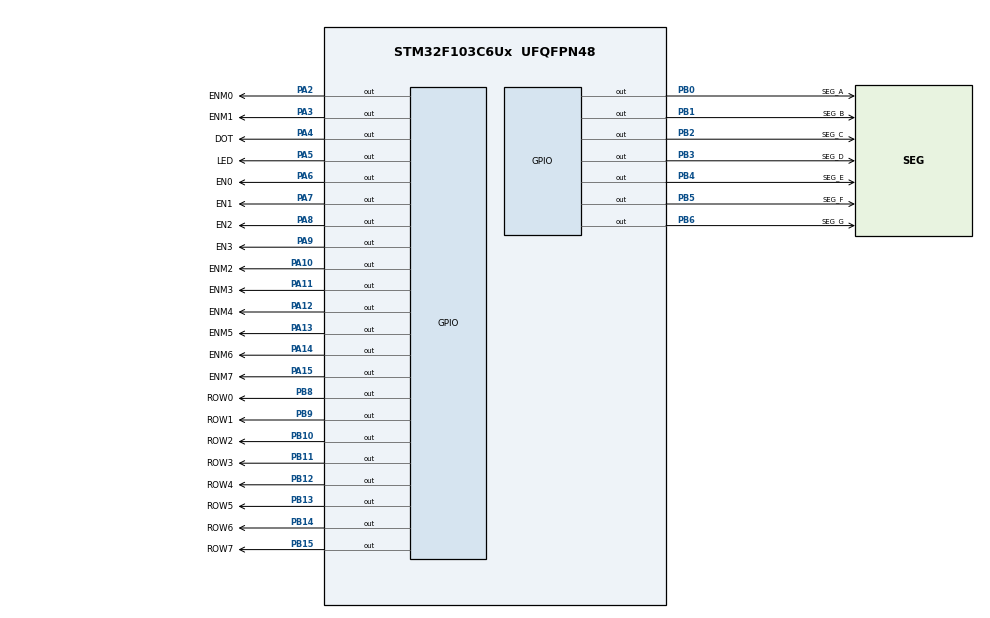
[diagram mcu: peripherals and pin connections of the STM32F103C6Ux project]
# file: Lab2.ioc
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Mcu.Family=STM32F1
Mcu.Name=STM32F103C6Ux
Mcu.Package=UFQFPN48
NVIC.PriorityGroup=NVIC_PRIORITYGROUP_4
NVIC.TIM2_IRQn=true\:0\:0\:false\:false\:true\:true\:true
PA10.GPIO_Label=ENM2
PA10.Signal=GPIO_Output
PA11.GPIO_Label=ENM3
PA11.Signal=GPIO_Output
PA12.GPIO_Label=ENM4
PA12.Signal=GPIO_Output
PA13.GPIO_Label=ENM5
PA13.Signal=GPIO_Output
PA14.GPIO_Label=ENM6
PA14.Signal=GPIO_Output
PA15.GPIO_Label=ENM7
PA15.Signal=GPIO_Output
PA2.GPIO_Label=ENM0
PA2.Signal=GPIO_Output
PA3.GPIO_Label=ENM1
PA3.Signal=GPIO_Output
PA4.GPIO_Label=DOT
PA4.Signal=GPIO_Output
PA5.GPIO_Label=LED
PA5.Signal=GPIO_Output
PA6.GPIO_Label=EN0
PA6.Signal=GPIO_Output
PA7.GPIO_Label=EN1
PA7.Signal=GPIO_Output
PA8.GPIO_Label=EN2
PA8.Signal=GPIO_Output
PA9.GPIO_Label=EN3
PA9.Signal=GPIO_Output
PB0.GPIO_Label=SEG_A
PB0.Signal=GPIO_Output
PB1.GPIO_Label=SEG_B
PB1.Signal=GPIO_Output
PB10.GPIO_Label=ROW2
PB10.Signal=GPIO_Output
PB11.GPIO_Label=ROW3
PB11.Signal=GPIO_Output
PB12.GPIO_Label=ROW4
PB12.Signal=GPIO_Output
PB13.GPIO_Label=ROW5
PB13.Signal=GPIO_Output
PB14.GPIO_Label=ROW6
PB14.Signal=GPIO_Output
PB15.GPIO_Label=ROW7
PB15.Signal=GPIO_Output
PB2.GPIO_Label=SEG_C
PB2.Signal=GPIO_Output
PB3.GPIO_Label=SEG_D
PB3.Signal=GPIO_Output
PB4.GPIO_Label=SEG_E
PB4.Signal=GPIO_Output
PB5.GPIO_Label=SEG_F
PB5.Signal=GPIO_Output
PB6.GPIO_Label=SEG_G
PB6.Signal=GPIO_Output
PB8.GPIO_Label=ROW0
PB8.Signal=GPIO_Output
PB9.GPIO_Label=ROW1
PB9.Signal=GPIO_Output
ProjectManager.HeapSize=0x200
ProjectManager.StackSize=0x400
ProjectManager.TargetToolchain=STM32CubeIDE
RCC.APB1Freq_Value=8000000
RCC.APB2Freq_Value=8000000
TIM2.Period=9
TIM2.Prescaler=7999
VP_SYS_VS_ND.Mode=No_Debug
VP_TIM2_VS_ClockSourceINT.Mode=Internal
board=custom

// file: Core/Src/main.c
/* USER CODE BEGIN Header */
/**
  ******************************************************************************
  * @file           : main.c
  * @brief          : Main program body
  ******************************************************************************
  * @attention
  *
  * <h2><center>&copy; Copyright (c) 2024 STMicroelectronics.
  * All rights reserved.</center></h2>
  *
  * This software component is licensed by ST under BSD 3-Clause license,
  * the "License"; You may not use this file except in compliance with the
  * License. You may obtain a copy of the License at:
  *                        opensource.org/licenses/BSD-3-Clause
  *
  ******************************************************************************
  */
/* USER CODE END Header */
#include "main.h"
#include "stdio.h"
/* USER CODE BEGIN Includes */
#include "time_set.h"
/* USER CODE END Includes */

TIM_HandleTypeDef htim2;

void SystemClock_Config(void);
static void MX_GPIO_Init(void);
static void MX_TIM2_Init(void);
/* USER CODE BEGIN PFP */
void Display7SEG(int num);
void Exercise1_Run();
void Exercise2_Run();
void Exercise3_Run();
void Exercise4_Run();
void Exercise5_Run();
void Exercise9_Run();
void Exercise10_Run();
/* USER CODE END PFP */

/* USER CODE BEGIN 0 */
uint8_t matrix_buffer [8] ={0b00111100 ,
  							0b01100110 ,
  							0b01100110 ,
  							0b01111110 ,
  							0b01111110 ,
  							0b01100110 ,
  							0b01100110 ,
  							0b01100110 };
  uint16_t column_buffer [8] = {ENM0_Pin,ENM1_Pin,ENM2_Pin,ENM3_Pin,ENM4_Pin,ENM5_Pin,ENM6_Pin,ENM7_Pin};
/* USER CODE END 0 */

int main(void)
{

  /* MCU Configuration--------------------------------------------------------*/

  /* Reset of all peripherals, Initializes the Flash interface and the Systick. */
  HAL_Init();

  /* Configure the system clock */
  SystemClock_Config();

  /* Initialize all configured peripherals */
  MX_GPIO_Init();
  MX_TIM2_Init();
  /* USER CODE BEGIN 2 */
  HAL_TIM_Base_Start_IT (& htim2 ) ;
  Exercise10_Run();
  /* USER CODE END 2 */

  /* Infinite loop */

}

void SystemClock_Config(void)
{
  RCC_OscInitTypeDef RCC_OscInitStruct = {0};
  RCC_ClkInitTypeDef RCC_ClkInitStruct = {0};

  /** Initializes the RCC Oscillators according to the specified parameters
  * in the RCC_OscInitTypeDef structure.
  */
  RCC_OscInitStruct.OscillatorType = RCC_OSCILLATORTYPE_HSI;
  RCC_OscInitStruct.HSIState = RCC_HSI_ON;
  RCC_OscInitStruct.HSICalibrationValue = RCC_HSICALIBRATION_DEFAULT;
  RCC_OscInitStruct.PLL.PLLState = RCC_PLL_NONE;
  if (HAL_RCC_OscConfig(&RCC_OscInitStruct) != HAL_OK)
  {
    Error_Handler();
  }
  /** Initializes the CPU, AHB and APB buses clocks
  */
  RCC_ClkInitStruct.ClockType = RCC_CLOCKTYPE_HCLK|RCC_CLOCKTYPE_SYSCLK
                              |RCC_CLOCKTYPE_PCLK1|RCC_CLOCKTYPE_PCLK2;
  RCC_ClkInitStruct.SYSCLKSource = RCC_SYSCLKSOURCE_HSI;
  RCC_ClkInitStruct.AHBCLKDivider = RCC_SYSCLK_DIV1;
  RCC_ClkInitStruct.APB1CLKDivider = RCC_HCLK_DIV1;
  RCC_ClkInitStruct.APB2CLKDivider = RCC_HCLK_DIV1;

  if (HAL_RCC_ClockConfig(&RCC_ClkInitStruct, FLASH_LATENCY_0) != HAL_OK)
  {
    Error_Handler();
  }
}

static void MX_TIM2_Init(void)
{

  TIM_ClockConfigTypeDef sClockSourceConfig = {0};
  TIM_MasterConfigTypeDef sMasterConfig = {0};

  htim2.Instance = TIM2;
  htim2.Init.Prescaler = 7999;
  htim2.Init.CounterMode = TIM_COUNTERMODE_UP;
  htim2.Init.Period = 9;
  htim2.Init.ClockDivision = TIM_CLOCKDIVISION_DIV1;
  htim2.Init.AutoReloadPreload = TIM_AUTORELOAD_PRELOAD_DISABLE;
  if (HAL_TIM_Base_Init(&htim2) != HAL_OK)
  {
    Error_Handler();
  }
  sClockSourceConfig.ClockSource = TIM_CLOCKSOURCE_INTERNAL;
  if (HAL_TIM_ConfigClockSource(&htim2, &sClockSourceConfig) != HAL_OK)
  {
    Error_Handler();
  }
  sMasterConfig.MasterOutputTrigger = TIM_TRGO_RESET;
  sMasterConfig.MasterSlaveMode = TIM_MASTERSLAVEMODE_DISABLE;
  if (HAL_TIMEx_MasterConfigSynchronization(&htim2, &sMasterConfig) != HAL_OK)
  {
    Error_Handler();
  }

}

static void MX_GPIO_Init(void)
{
  GPIO_InitTypeDef GPIO_InitStruct = {0};

  /* GPIO Ports Clock Enable */
  __HAL_RCC_GPIOA_CLK_ENABLE();
  __HAL_RCC_GPIOB_CLK_ENABLE();

  /*Configure GPIO pin Output Level */
  HAL_GPIO_WritePin(GPIOA, ENM0_Pin|ENM1_Pin|DOT_Pin|LED_Pin
                          |EN0_Pin|EN1_Pin|EN2_Pin|EN3_Pin
                          |ENM2_Pin|ENM3_Pin|ENM4_Pin|ENM5_Pin
                          |ENM6_Pin|ENM7_Pin, GPIO_PIN_RESET);

  /*Configure GPIO pin Output Level */
  HAL_GPIO_WritePin(GPIOB, SEG_A_Pin|SEG_B_Pin|SEG_C_Pin|ROW2_Pin
                          |ROW3_Pin|ROW4_Pin|ROW5_Pin|ROW6_Pin
                          |ROW7_Pin|SEG_D_Pin|SEG_E_Pin|SEG_F_Pin
                          |SEG_G_Pin|ROW0_Pin|ROW1_Pin, GPIO_PIN_RESET);

  /*Configure GPIO pins : ENM0_Pin ENM1_Pin DOT_Pin LED_Pin
                           EN0_Pin EN1_Pin EN2_Pin EN3_Pin
                           ENM2_Pin ENM3_Pin ENM4_Pin ENM5_Pin
                           ENM6_Pin ENM7_Pin */
  GPIO_InitStruct.Pin = ENM0_Pin|ENM1_Pin|DOT_Pin|LED_Pin
                          |EN0_Pin|EN1_Pin|EN2_Pin|EN3_Pin
                          |ENM2_Pin|ENM3_Pin|ENM4_Pin|ENM5_Pin
                          |ENM6_Pin|ENM7_Pin;
  GPIO_InitStruct.Mode = GPIO_MODE_OUTPUT_PP;
  GPIO_InitStruct.Pull = GPIO_NOPULL;
  GPIO_InitStruct.Speed = GPIO_SPEED_FREQ_LOW;
  HAL_GPIO_Init(GPIOA, &GPIO_InitStruct);

  /*Configure GPIO pins : SEG_A_Pin SEG_B_Pin SEG_C_Pin ROW2_Pin
                           ROW3_Pin ROW4_Pin ROW5_Pin ROW6_Pin
                           ROW7_Pin SEG_D_Pin SEG_E_Pin SEG_F_Pin
                           SEG_G_Pin ROW0_Pin ROW1_Pin */
  GPIO_InitStruct.Pin = SEG_A_Pin|SEG_B_Pin|SEG_C_Pin|ROW2_Pin
                          |ROW3_Pin|ROW4_Pin|ROW5_Pin|ROW6_Pin
                          |ROW7_Pin|SEG_D_Pin|SEG_E_Pin|SEG_F_Pin
                          |SEG_G_Pin|ROW0_Pin|ROW1_Pin;
  GPIO_InitStruct.Mode = GPIO_MODE_OUTPUT_PP;
  GPIO_InitStruct.Pull = GPIO_NOPULL;
  GPIO_InitStruct.Speed = GPIO_SPEED_FREQ_LOW;
  HAL_GPIO_Init(GPIOB, &GPIO_InitStruct);

}

/* USER CODE BEGIN 4 */

 void HAL_TIM_PeriodElapsedCallback ( TIM_HandleTypeDef * htim ){
	 timerRun();
}
 void Display7SEG(int num){
	switch(num){
	case 0:
		HAL_GPIO_WritePin(SEG_A_GPIO_Port , SEG_A_Pin, GPIO_PIN_RESET);
		HAL_GPIO_WritePin(SEG_B_GPIO_Port , SEG_B_Pin, GPIO_PIN_RESET);
		HAL_GPIO_WritePin(SEG_C_GPIO_Port , SEG_C_Pin, GPIO_PIN_RESET);
		HAL_GPIO_WritePin(SEG_D_GPIO_Port , SEG_D_Pin, GPIO_PIN_RESET);
		HAL_GPIO_WritePin(SEG_E_GPIO_Port , SEG_E_Pin, GPIO_PIN_RESET);
		HAL_GPIO_WritePin(SEG_F_GPIO_Port , SEG_F_Pin, GPIO_PIN_RESET);
		HAL_GPIO_WritePin(SEG_G_GPIO_Port , SEG_G_Pin, GPIO_PIN_SET);
		break;
	case 1:
		HAL_GPIO_WritePin(SEG_A_GPIO_Port , SEG_A_Pin, GPIO_PIN_SET);
		HAL_GPIO_WritePin(SEG_B_GPIO_Port , SEG_B_Pin, GPIO_PIN_RESET);
		HAL_GPIO_WritePin(SEG_C_GPIO_Port , SEG_C_Pin, GPIO_PIN_RESET);
		HAL_GPIO_WritePin(SEG_D_GPIO_Port , SEG_D_Pin, GPIO_PIN_SET);
		HAL_GPIO_WritePin(SEG_E_GPIO_Port , SEG_E_Pin, GPIO_PIN_SET);
		HAL_GPIO_WritePin(SEG_F_GPIO_Port , SEG_F_Pin, GPIO_PIN_SET);
		HAL_GPIO_WritePin(SEG_G_GPIO_Port , SEG_G_Pin, GPIO_PIN_SET);
		break;
	case 2:
		HAL_GPIO_WritePin(SEG_A_GPIO_Port , SEG_A_Pin, GPIO_PIN_RESET);
		HAL_GPIO_WritePin(SEG_B_GPIO_Port , SEG_B_Pin, GPIO_PIN_RESET);
		HAL_GPIO_WritePin(SEG_C_GPIO_Port , SEG_C_Pin, GPIO_PIN_SET);
		HAL_GPIO_WritePin(SEG_D_GPIO_Port , SEG_D_Pin, GPIO_PIN_RESET);
		HAL_GPIO_WritePin(SEG_E_GPIO_Port , SEG_E_Pin, GPIO_PIN_RESET);
		HAL_GPIO_WritePin(SEG_F_GPIO_Port , SEG_F_Pin, GPIO_PIN_SET);
		HAL_GPIO_WritePin(SEG_G_GPIO_Port , SEG_G_Pin, GPIO_PIN_RESET);
		break;
	case 3:
		HAL_GPIO_WritePin(SEG_A_GPIO_Port , SEG_A_Pin, GPIO_PIN_RESET);
		HAL_GPIO_WritePin(SEG_B_GPIO_Port , SEG_B_Pin, GPIO_PIN_RESET);
		HAL_GPIO_WritePin(SEG_C_GPIO_Port , SEG_C_Pin, GPIO_PIN_RESET);
		HAL_GPIO_WritePin(SEG_D_GPIO_Port , SEG_D_Pin, GPIO_PIN_RESET);
		HAL_GPIO_WritePin(SEG_E_GPIO_Port , SEG_E_Pin, GPIO_PIN_SET);
		HAL_GPIO_WritePin(SEG_F_GPIO_Port , SEG_F_Pin, GPIO_PIN_SET);
		HAL_GPIO_WritePin(SEG_G_GPIO_Port , SEG_G_Pin, GPIO_PIN_RESET);
		break;
	case 4:
		HAL_GPIO_WritePin(SEG_A_GPIO_Port , SEG_A_Pin, GPIO_PIN_SET);
		HAL_GPIO_WritePin(SEG_B_GPIO_Port , SEG_B_Pin, GPIO_PIN_RESET);
		HAL_GPIO_WritePin(SEG_C_GPIO_Port , SEG_C_Pin, GPIO_PIN_RESET);
		HAL_GPIO_WritePin(SEG_D_GPIO_Port , SEG_D_Pin, GPIO_PIN_SET);
		HAL_GPIO_WritePin(SEG_E_GPIO_Port , SEG_E_Pin, GPIO_PIN_SET);
		HAL_GPIO_WritePin(SEG_F_GPIO_Port , SEG_F_Pin, GPIO_PIN_RESET);
		HAL_GPIO_WritePin(SEG_G_GPIO_Port , SEG_G_Pin, GPIO_PIN_RESET);
		break;
	case 5:
		HAL_GPIO_WritePin(SEG_A_GPIO_Port , SEG_A_Pin, GPIO_PIN_RESET);
		HAL_GPIO_WritePin(SEG_B_GPIO_Port , SEG_B_Pin, GPIO_PIN_SET);
		HAL_GPIO_WritePin(SEG_C_GPIO_Port , SEG_C_Pin, GPIO_PIN_RESET);
		HAL_GPIO_WritePin(SEG_D_GPIO_Port , SEG_D_Pin, GPIO_PIN_RESET);
		HAL_GPIO_WritePin(SEG_E_GPIO_Port , SEG_E_Pin, GPIO_PIN_SET);
		HAL_GPIO_WritePin(SEG_F_GPIO_Port , SEG_F_Pin, GPIO_PIN_RESET);
		HAL_GPIO_WritePin(SEG_G_GPIO_Port , SEG_G_Pin, GPIO_PIN_RESET);
		break;
	case 7:
		HAL_GPIO_WritePin(SEG_A_GPIO_Port , SEG_A_Pin, GPIO_PIN_RESET);
		HAL_GPIO_WritePin(SEG_B_GPIO_Port , SEG_B_Pin, GPIO_PIN_RESET);
		HAL_GPIO_WritePin(SEG_C_GPIO_Port , SEG_C_Pin, GPIO_PIN_RESET);
		HAL_GPIO_WritePin(SEG_D_GPIO_Port , SEG_D_Pin, GPIO_PIN_SET);
		HAL_GPIO_WritePin(SEG_E_GPIO_Port , SEG_E_Pin, GPIO_PIN_SET);
		HAL_GPIO_WritePin(SEG_F_GPIO_Port , SEG_F_Pin, GPIO_PIN_SET);
		HAL_GPIO_WritePin(SEG_G_GPIO_Port , SEG_G_Pin, GPIO_PIN_SET);
		break;
	case 6:
		HAL_GPIO_WritePin(SEG_A_GPIO_Port , SEG_A_Pin, GPIO_PIN_RESET);
		HAL_GPIO_WritePin(SEG_B_GPIO_Port , SEG_B_Pin, GPIO_PIN_SET);
		HAL_GPIO_WritePin(SEG_C_GPIO_Port , SEG_C_Pin, GPIO_PIN_RESET);
		HAL_GPIO_WritePin(SEG_D_GPIO_Port , SEG_D_Pin, GPIO_PIN_RESET);
		HAL_GPIO_WritePin(SEG_E_GPIO_Port , SEG_E_Pin, GPIO_PIN_RESET);
		HAL_GPIO_WritePin(SEG_F_GPIO_Port , SEG_F_Pin, GPIO_PIN_RESET);
		HAL_GPIO_WritePin(SEG_G_GPIO_Port , SEG_G_Pin, GPIO_PIN_RESET);
		break;
	case 8:
		HAL_GPIO_WritePin(SEG_A_GPIO_Port , SEG_A_Pin, GPIO_PIN_RESET);
		HAL_GPIO_WritePin(SEG_B_GPIO_Port , SEG_B_Pin, GPIO_PIN_RESET);
		HAL_GPIO_WritePin(SEG_C_GPIO_Port , SEG_C_Pin, GPIO_PIN_RESET);
		HAL_GPIO_WritePin(SEG_D_GPIO_Port , SEG_D_Pin, GPIO_PIN_RESET);
		HAL_GPIO_WritePin(SEG_E_GPIO_Port , SEG_E_Pin, GPIO_PIN_RESET);
		HAL_GPIO_WritePin(SEG_F_GPIO_Port , SEG_F_Pin, GPIO_PIN_RESET);
		HAL_GPIO_WritePin(SEG_G_GPIO_Port , SEG_G_Pin, GPIO_PIN_RESET);
		break;
	case 9:
		HAL_GPIO_WritePin(SEG_A_GPIO_Port , SEG_A_Pin, GPIO_PIN_RESET);
		HAL_GPIO_WritePin(SEG_B_GPIO_Port , SEG_B_Pin, GPIO_PIN_RESET);
		HAL_GPIO_WritePin(SEG_C_GPIO_Port , SEG_C_Pin, GPIO_PIN_RESET);
		HAL_GPIO_WritePin(SEG_D_GPIO_Port , SEG_D_Pin, GPIO_PIN_RESET);
		HAL_GPIO_WritePin(SEG_E_GPIO_Port , SEG_E_Pin, GPIO_PIN_SET);
		HAL_GPIO_WritePin(SEG_F_GPIO_Port , SEG_F_Pin, GPIO_PIN_RESET);
		HAL_GPIO_WritePin(SEG_G_GPIO_Port , SEG_G_Pin, GPIO_PIN_RESET);
		break;

	}
}
void Exercise1_Run(){
	  setTimer1(50);
	  int led_status = 0;
	  while (1)
	  {
		  if(timer1_flag == 1){
			  switch(led_status){
				  case 0:
					  HAL_GPIO_WritePin(EN0_GPIO_Port , EN0_Pin , GPIO_PIN_RESET);
					  HAL_GPIO_WritePin(EN1_GPIO_Port , EN1_Pin , GPIO_PIN_SET);
					  Display7SEG(1);
					  break;
				  case 1:
					  HAL_GPIO_WritePin(EN1_GPIO_Port , EN1_Pin , GPIO_PIN_RESET);
					  HAL_GPIO_WritePin(EN0_GPIO_Port , EN0_Pin , GPIO_PIN_SET);
					  Display7SEG(2);
					  break;
				  default:
					  break;
			  }
		  setTimer1(50);
		  led_status = 1 - led_status;
		  }
	  }
}
void Exercise2_Run(){
	setTimer1(50);
	setTimer2(100);
	int led_status = 0;
	while (1)
	{
		if(timer1_flag == 1){
			switch(led_status){
			   case 0:
				   HAL_GPIO_WritePin(EN0_GPIO_Port , EN0_Pin , GPIO_PIN_RESET);
				   HAL_GPIO_WritePin(EN1_GPIO_Port , EN1_Pin , GPIO_PIN_SET);
				   HAL_GPIO_WritePin(EN2_GPIO_Port , EN2_Pin , GPIO_PIN_SET);
				   HAL_GPIO_WritePin(EN3_GPIO_Port , EN3_Pin , GPIO_PIN_SET);
				   Display7SEG(1);
				   break;
			   case 1:
				   HAL_GPIO_WritePin(EN1_GPIO_Port , EN1_Pin , GPIO_PIN_RESET);
				   HAL_GPIO_WritePin(EN0_GPIO_Port , EN0_Pin , GPIO_PIN_SET);
				   HAL_GPIO_WritePin(EN2_GPIO_Port , EN2_Pin , GPIO_PIN_SET);
				   HAL_GPIO_WritePin(EN3_GPIO_Port , EN3_Pin , GPIO_PIN_SET);
				   Display7SEG(2);
				   break;
			   case 2:
				   HAL_GPIO_WritePin(EN1_GPIO_Port , EN1_Pin , GPIO_PIN_SET);
				   HAL_GPIO_WritePin(EN0_GPIO_Port , EN0_Pin , GPIO_PIN_SET);
				   HAL_GPIO_WritePin(EN2_GPIO_Port , EN2_Pin , GPIO_PIN_RESET);
				   HAL_GPIO_WritePin(EN3_GPIO_Port , EN3_Pin , GPIO_PIN_SET);
				   Display7SEG(3);
				   break;
			   case 3:
				   HAL_GPIO_WritePin(EN1_GPIO_Port , EN1_Pin , GPIO_PIN_SET);
				   HAL_GPIO_WritePin(EN0_GPIO_Port , EN0_Pin , GPIO_PIN_SET);
				   HAL_GPIO_WritePin(EN2_GPIO_Port , EN2_Pin , GPIO_PIN_SET);
				   HAL_GPIO_WritePin(EN3_GPIO_Port , EN3_Pin , GPIO_PIN_RESET);
				   Display7SEG(0);
				   break;
			   default:
				   break;
				   }
			   setTimer1(50);
			   led_status ++;
			   if(led_status >= 4){
				   led_status = 0;
			   }
		 }
		if(timer2_flag == 1){
			HAL_GPIO_TogglePin(DOT_GPIO_Port , DOT_Pin);
			setTimer2(100);
		}
	}
}
void Exercise3_Run(){
	const int MAX_LED = 4;
	int index_led = 0;
	int led_buffer [4] = {9 , 8 , 7 , 6};
	setTimer1(25);
	setTimer2(100);
	int led_status = 0;
	while (1)
	{
		if(timer1_flag == 1){
			switch(led_status){
			   case 0:
				   HAL_GPIO_WritePin(EN0_GPIO_Port , EN0_Pin , GPIO_PIN_RESET);
				   HAL_GPIO_WritePin(EN1_GPIO_Port , EN1_Pin , GPIO_PIN_SET);
				   HAL_GPIO_WritePin(EN2_GPIO_Port , EN2_Pin , GPIO_PIN_SET);
				   HAL_GPIO_WritePin(EN3_GPIO_Port , EN3_Pin , GPIO_PIN_SET);
				   Display7SEG(led_buffer[index_led]);
				   break;
			   case 1:
				   HAL_GPIO_WritePin(EN1_GPIO_Port , EN1_Pin , GPIO_PIN_RESET);
				   HAL_GPIO_WritePin(EN0_GPIO_Port , EN0_Pin , GPIO_PIN_SET);
				   HAL_GPIO_WritePin(EN2_GPIO_Port , EN2_Pin , GPIO_PIN_SET);
				   HAL_GPIO_WritePin(EN3_GPIO_Port , EN3_Pin , GPIO_PIN_SET);
				   Display7SEG(led_buffer[index_led]);
				   break;
			   case 2:
				   HAL_GPIO_WritePin(EN1_GPIO_Port , EN1_Pin , GPIO_PIN_SET);
				   HAL_GPIO_WritePin(EN0_GPIO_Port , EN0_Pin , GPIO_PIN_SET);
				   HAL_GPIO_WritePin(EN2_GPIO_Port , EN2_Pin , GPIO_PIN_RESET);
				   HAL_GPIO_WritePin(EN3_GPIO_Port , EN3_Pin , GPIO_PIN_SET);
				   Display7SEG(led_buffer[index_led]);
				   break;
			   case 3:
				   HAL_GPIO_WritePin(EN1_GPIO_Port , EN1_Pin , GPIO_PIN_SET);
				   HAL_GPIO_WritePin(EN0_GPIO_Port , EN0_Pin , GPIO_PIN_SET);
				   HAL_GPIO_WritePin(EN2_GPIO_Port , EN2_Pin , GPIO_PIN_SET);
				   HAL_GPIO_WritePin(EN3_GPIO_Port , EN3_Pin , GPIO_PIN_RESET);
				   Display7SEG(led_buffer[index_led]);
				   break;
			   default:
				   break;
				   }
			   setTimer1(25);
			   led_status ++;
			   index_led ++;
			   if(led_status >= 4){
				   led_status = 0;
			   }
			   if(index_led >= MAX_LED){
			   	   index_led = 0;
			   }
		 }
		if(timer2_flag == 1){
			HAL_GPIO_TogglePin(DOT_GPIO_Port , DOT_Pin);
			setTimer2(100);
		}
	}
}
void Exercise4_Run(){
	const int MAX_LED = 4;
	int index_led = 0;
	int led_buffer [4] = {9 , 8 , 7 , 6};
	setTimer1(25);
	setTimer2(100);
	int led_status = 0;
	while (1)
	{
		if(timer1_flag == 1){
			switch(led_status){
			   case 0:
				   HAL_GPIO_WritePin(EN0_GPIO_Port , EN0_Pin , GPIO_PIN_RESET);
				   HAL_GPIO_WritePin(EN1_GPIO_Port , EN1_Pin , GPIO_PIN_SET);
				   HAL_GPIO_WritePin(EN2_GPIO_Port , EN2_Pin , GPIO_PIN_SET);
				   HAL_GPIO_WritePin(EN3_GPIO_Port , EN3_Pin , GPIO_PIN_SET);
				   Display7SEG(led_buffer[index_led]);
				   break;
			   case 1:
				   HAL_GPIO_WritePin(EN1_GPIO_Port , EN1_Pin , GPIO_PIN_RESET);
				   HAL_GPIO_WritePin(EN0_GPIO_Port , EN0_Pin , GPIO_PIN_SET);
				   HAL_GPIO_WritePin(EN2_GPIO_Port , EN2_Pin , GPIO_PIN_SET);
				   HAL_GPIO_WritePin(EN3_GPIO_Port , EN3_Pin , GPIO_PIN_SET);
				   Display7SEG(led_buffer[index_led]);
				   break;
			   case 2:
				   HAL_GPIO_WritePin(EN1_GPIO_Port , EN1_Pin , GPIO_PIN_SET);
				   HAL_GPIO_WritePin(EN0_GPIO_Port , EN0_Pin , GPIO_PIN_SET);
				   HAL_GPIO_WritePin(EN2_GPIO_Port , EN2_Pin , GPIO_PIN_RESET);
				   HAL_GPIO_WritePin(EN3_GPIO_Port , EN3_Pin , GPIO_PIN_SET);
				   Display7SEG(led_buffer[index_led]);
				   break;
			   case 3:
				   HAL_GPIO_WritePin(EN1_GPIO_Port , EN1_Pin , GPIO_PIN_SET);
				   HAL_GPIO_WritePin(EN0_GPIO_Port , EN0_Pin , GPIO_PIN_SET);
				   HAL_GPIO_WritePin(EN2_GPIO_Port , EN2_Pin , GPIO_PIN_SET);
				   HAL_GPIO_WritePin(EN3_GPIO_Port , EN3_Pin , GPIO_PIN_RESET);
				   Display7SEG(led_buffer[index_led]);
				   break;
			   default:
				   break;
				   }
			   setTimer1(25);
			   led_status ++;
			   index_led ++;
			   if(led_status >= 4){
				   led_status = 0;
			   }
			   if(index_led >= MAX_LED){
			   	   index_led = 0;
			   }
		 }
		if(timer2_flag == 1){
			HAL_GPIO_TogglePin(DOT_GPIO_Port , DOT_Pin);
			setTimer2(100);
		}
	}
}
void Exercise5_Run(){
	int hour = 15, minute = 8, second = 50;
	const int MAX_LED = 4;
	int index_led = 0;
	int led_buffer [4] = {9 , 8 , 7 , 6};
	void updateClockBuffer(){
		led_buffer[0] = hour / 10;
		led_buffer[1] = hour % 10;
		led_buffer[2] = minute / 10;
		led_buffer[3] = minute % 10;
	}
	updateClockBuffer();
	setTimer1(17);
	setTimer2(1);
	int led_status = 0;
	while (1)
	{
		if(timer1_flag == 1){
			switch(led_status){
			   case 0:
				   HAL_GPIO_WritePin(EN0_GPIO_Port , EN0_Pin , GPIO_PIN_RESET);
				   HAL_GPIO_WritePin(EN1_GPIO_Port , EN1_Pin , GPIO_PIN_SET);
				   HAL_GPIO_WritePin(EN2_GPIO_Port , EN2_Pin , GPIO_PIN_SET);
				   HAL_GPIO_WritePin(EN3_GPIO_Port , EN3_Pin , GPIO_PIN_SET);
				   Display7SEG(led_buffer[index_led]);
				   break;
			   case 1:
				   HAL_GPIO_WritePin(EN1_GPIO_Port , EN1_Pin , GPIO_PIN_RESET);
				   HAL_GPIO_WritePin(EN0_GPIO_Port , EN0_Pin , GPIO_PIN_SET);
				   HAL_GPIO_WritePin(EN2_GPIO_Port , EN2_Pin , GPIO_PIN_SET);
				   HAL_GPIO_WritePin(EN3_GPIO_Port , EN3_Pin , GPIO_PIN_SET);
				   Display7SEG(led_buffer[index_led]);
				   break;
			   case 2:
				   HAL_GPIO_WritePin(EN1_GPIO_Port , EN1_Pin , GPIO_PIN_SET);
				   HAL_GPIO_WritePin(EN0_GPIO_Port , EN0_Pin , GPIO_PIN_SET);
				   HAL_GPIO_WritePin(EN2_GPIO_Port , EN2_Pin , GPIO_PIN_RESET);
				   HAL_GPIO_WritePin(EN3_GPIO_Port , EN3_Pin , GPIO_PIN_SET);
				   Display7SEG(led_buffer[index_led]);
				   break;
			   case 3:
				   HAL_GPIO_WritePin(EN1_GPIO_Port , EN1_Pin , GPIO_PIN_SET);
				   HAL_GPIO_WritePin(EN0_GPIO_Port , EN0_Pin , GPIO_PIN_SET);
				   HAL_GPIO_WritePin(EN2_GPIO_Port , EN2_Pin , GPIO_PIN_SET);
				   HAL_GPIO_WritePin(EN3_GPIO_Port , EN3_Pin , GPIO_PIN_RESET);
				   Display7SEG(led_buffer[index_led]);
				   break;
			   default:
				   break;
				   }

			   setTimer1(17);
			   led_status ++;
			   index_led ++;
			   if(led_status >= MAX_LED){
				   led_status = 0;
			   }
			   if(index_led >= MAX_LED){
			   	   index_led = 0;
			   }
		 }
		if(timer2_flag == 1){
			HAL_GPIO_TogglePin(DOT_GPIO_Port , DOT_Pin);
			if(second >= 60){
			   second = 0;
			   minute ++;
		    }
			if(minute >= 60){
			   minute = 0;
			   hour ++;
			}
		    if(hour >= 12){
			   hour %= 12;
			}
		    second ++;
		    updateClockBuffer();
			setTimer2(1);
		}
	}
}
void clearMatrix(){
	HAL_GPIO_WritePin(ROW0_GPIO_Port, ROW0_Pin, GPIO_PIN_SET);
	HAL_GPIO_WritePin(ROW1_GPIO_Port, ROW1_Pin, GPIO_PIN_SET);
	HAL_GPIO_WritePin(ROW2_GPIO_Port, ROW2_Pin, GPIO_PIN_SET);
	HAL_GPIO_WritePin(ROW3_GPIO_Port, ROW3_Pin, GPIO_PIN_SET);
	HAL_GPIO_WritePin(ROW4_GPIO_Port, ROW4_Pin, GPIO_PIN_SET);
	HAL_GPIO_WritePin(ROW5_GPIO_Port, ROW5_Pin, GPIO_PIN_SET);
	HAL_GPIO_WritePin(ROW6_GPIO_Port, ROW6_Pin, GPIO_PIN_SET);
	HAL_GPIO_WritePin(ROW7_GPIO_Port, ROW7_Pin, GPIO_PIN_SET);
}
void clearMatrixRow(int index){
  switch ( index ) {
	case 0:
		HAL_GPIO_WritePin(ROW0_GPIO_Port, ROW0_Pin, GPIO_PIN_SET);
		break ;
	case 1:
		HAL_GPIO_WritePin(ROW1_GPIO_Port, ROW1_Pin, GPIO_PIN_SET);
		break ;
	case 2:
		HAL_GPIO_WritePin(ROW2_GPIO_Port, ROW2_Pin, GPIO_PIN_SET);
		break ;
	case 3:
		HAL_GPIO_WritePin(ROW3_GPIO_Port, ROW3_Pin, GPIO_PIN_SET);
		break ;
	case 4:
		HAL_GPIO_WritePin(ROW4_GPIO_Port, ROW4_Pin, GPIO_PIN_SET);
		break ;
	case 5:
		HAL_GPIO_WritePin(ROW5_GPIO_Port, ROW5_Pin, GPIO_PIN_SET);
		break ;
	case 6:
		HAL_GPIO_WritePin(ROW6_GPIO_Port, ROW6_Pin, GPIO_PIN_SET);
		break ;
	case 7:
		HAL_GPIO_WritePin(ROW7_GPIO_Port, ROW7_Pin, GPIO_PIN_SET);
		break ;
	default :
		break ;
  }
}
void updateLEDMatrix(int index){
  switch ( index ) {
	case 0:
		HAL_GPIO_WritePin(ROW0_GPIO_Port, ROW0_Pin, GPIO_PIN_RESET);
		break ;
	case 1:
		HAL_GPIO_WritePin(ROW1_GPIO_Port, ROW1_Pin, GPIO_PIN_RESET);
		break ;
	case 2:
		HAL_GPIO_WritePin(ROW2_GPIO_Port, ROW2_Pin, GPIO_PIN_RESET);
		break ;
	case 3:
		HAL_GPIO_WritePin(ROW3_GPIO_Port, ROW3_Pin, GPIO_PIN_RESET);
		break ;
	case 4:
		HAL_GPIO_WritePin(ROW4_GPIO_Port, ROW4_Pin, GPIO_PIN_RESET);
		break ;
	case 5:
		HAL_GPIO_WritePin(ROW5_GPIO_Port, ROW5_Pin, GPIO_PIN_RESET);
		break ;
	case 6:
		HAL_GPIO_WritePin(ROW6_GPIO_Port, ROW6_Pin, GPIO_PIN_RESET);
		break ;
	case 7:
		HAL_GPIO_WritePin(ROW7_GPIO_Port, ROW7_Pin, GPIO_PIN_RESET);
		break ;
	default :
		break ;
  }
  //uint8_t row_data = matrix_buffer[index];
  HAL_GPIO_WritePin(GPIOA, column_buffer[0], (matrix_buffer[index] & 0x01)? GPIO_PIN_RESET : GPIO_PIN_SET);
  HAL_GPIO_WritePin(GPIOA, column_buffer[1], (matrix_buffer[index] & 0x02)? GPIO_PIN_RESET : GPIO_PIN_SET);
  HAL_GPIO_WritePin(GPIOA, column_buffer[2], (matrix_buffer[index] & 0x04)? GPIO_PIN_RESET : GPIO_PIN_SET);
  HAL_GPIO_WritePin(GPIOA, column_buffer[3], (matrix_buffer[index] & 0x08)? GPIO_PIN_RESET : GPIO_PIN_SET);
  HAL_GPIO_WritePin(GPIOA, column_buffer[4], (matrix_buffer[index] & 0x10)? GPIO_PIN_RESET : GPIO_PIN_SET);
  HAL_GPIO_WritePin(GPIOA, column_buffer[5], (matrix_buffer[index] & 0x20)? GPIO_PIN_RESET : GPIO_PIN_SET);
  HAL_GPIO_WritePin(GPIOA, column_buffer[6], (matrix_buffer[index] & 0x40)? GPIO_PIN_RESET : GPIO_PIN_SET);
  HAL_GPIO_WritePin(GPIOA, column_buffer[7], (matrix_buffer[index] & 0x80)? GPIO_PIN_RESET : GPIO_PIN_SET);
}
void Exercise9_Run(){
	setTimer1(2);
	clearMatrix();
	int i = 0;
	while (1) {
		if(timer1_flag == 1) {
			setTimer1(2);
			if(i >= 8) i = 0;

			updateLEDMatrix(i);
			i ++;
		}
	}

}
void Exercise10_Run(){
	setTimer1(2);
	setTimer2(40);
	int i = 0;
	while (1) {
		if(timer1_flag == 1) {
			setTimer1(2);
			if(i >= 8) i = 0;
			clearMatrixRow(i - 1);
			updateLEDMatrix(i);
			i ++;
		}
		if(timer2_flag == 1){
			setTimer2(40);
			for(int i = 0; i < 8; i++){
				uint8_t tmp = matrix_buffer[i] & 0x01;
				matrix_buffer[i] = (matrix_buffer[i] >> 1) | (tmp << 7);
			}
		}
	}
}
/* USER CODE END 4 */

void Error_Handler(void)
{
  __disable_irq();
  while (1)
  {
  }
}

/************************ (C) COPYRIGHT STMicroelectronics *****END OF FILE****/
